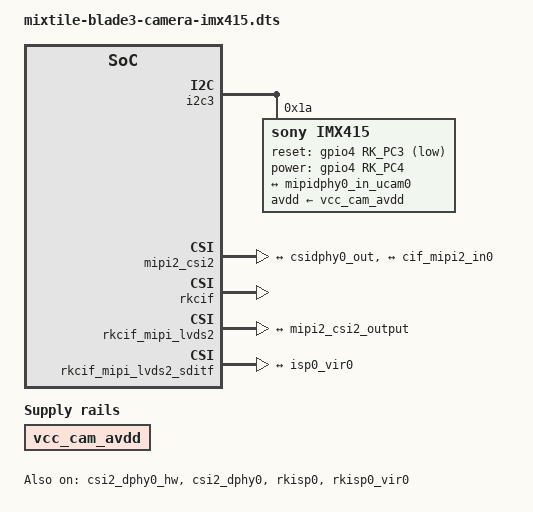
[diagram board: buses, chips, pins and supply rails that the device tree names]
/dts-v1/;
/plugin/;

#include <dt-bindings/clock/rk3588-cru.h>
#include <dt-bindings/power/rk3588-power.h>
#include <dt-bindings/gpio/gpio.h>
#include <dt-bindings/pinctrl/rockchip.h>

/ {
	metadata {
		title = "Enable IMX415 camera on CSI0";
		compatible = "mixtile,blade3";
		category = "camera";
		exclusive = "csi2_dphy0";
		description = "Enable a Sony IMX415 camera module on the J7 FPC connector.";
	};

	fragment@0 {
		target-path = "/";

		__overlay__ {
			/* generated on the module from the J7 3.3V/5V pins */
			vcc_cam_avdd: vcc-cam-avdd {
				compatible = "regulator-fixed";
				regulator-name = "vcc_cam_avdd";
				regulator-always-on;
				regulator-boot-on;
			};
		};
	};

	fragment@1 {
		target = <&i2c3>;

		__overlay__ {
			status = "okay";
			#address-cells = <1>;
			#size-cells = <0>;

			imx415: imx415@1a {
				compatible = "sony,imx415";
				reg = <0x1a>;
				clocks = <&cru CLK_MIPI_CAMARAOUT_M2>;
				clock-names = "xvclk";
				pinctrl-names = "default";
				pinctrl-0 = <&mipim1_camera2_clk &cam_ctl_pins>;
				power-domains = <&power RK3588_PD_VI>;
				reset-gpios = <&gpio4 RK_PC3 GPIO_ACTIVE_LOW>;
				power-gpios = <&gpio4 RK_PC4 GPIO_ACTIVE_HIGH>;
				avdd-supply = <&vcc_cam_avdd>;
				rockchip,camera-module-index = <0>;
				rockchip,camera-module-facing = "back";
				rockchip,camera-module-name = "CMK-OT2022-PX1";
				rockchip,camera-module-lens-name = "IR0147-50IRC-8M-F20";
				status = "okay";

				port {
					imx415_out0: endpoint {
						remote-endpoint = <&mipidphy0_in_ucam0>;
						data-lanes = <1 2 3 4>;
					};
				};
			};
		};
	};

	fragment@2 {
		target = <&pinctrl>;

		__overlay__ {
			cam {
				cam_ctl_pins: cam-ctl-pins {
					rockchip,pins =
						<4 RK_PC3 RK_FUNC_GPIO &pcfg_pull_none>,
						<4 RK_PC4 RK_FUNC_GPIO &pcfg_pull_none>;
				};
			};
		};
	};

	fragment@3 {
		target = <&csi2_dphy0_hw>;

		__overlay__ {
			status = "okay";
		};
	};

	fragment@4 {
		target = <&csi2_dphy0>;

		__overlay__ {
			status = "okay";

			ports {
				#address-cells = <1>;
				#size-cells = <0>;

				port@0 {
					reg = <0>;
					#address-cells = <1>;
					#size-cells = <0>;

					mipidphy0_in_ucam0: endpoint@1 {
						reg = <1>;
						remote-endpoint = <&imx415_out0>;
						data-lanes = <1 2 3 4>;
					};
				};

				port@1 {
					reg = <1>;
					#address-cells = <1>;
					#size-cells = <0>;

					csidphy0_out: endpoint@0 {
						reg = <0>;
						remote-endpoint = <&mipi2_csi2_input>;
					};
				};
			};
		};
	};

	fragment@5 {
		target = <&mipi2_csi2>;

		__overlay__ {
			status = "okay";

			ports {
				#address-cells = <1>;
				#size-cells = <0>;

				port@0 {
					reg = <0>;
					#address-cells = <1>;
					#size-cells = <0>;

					mipi2_csi2_input: endpoint@1 {
						reg = <1>;
						remote-endpoint = <&csidphy0_out>;
					};
				};

				port@1 {
					reg = <1>;
					#address-cells = <1>;
					#size-cells = <0>;

					mipi2_csi2_output: endpoint@0 {
						reg = <0>;
						remote-endpoint = <&cif_mipi2_in0>;
					};
				};
			};
		};
	};

	fragment@6 {
		target = <&rkcif>;

		__overlay__ {
			status = "okay";
		};
	};

	fragment@7 {
		target = <&rkcif_mmu>;

		__overlay__ {
			status = "okay";
		};
	};

	fragment@8 {
		target = <&rkcif_mipi_lvds2>;

		__overlay__ {
			status = "okay";

			port {
				cif_mipi2_in0: endpoint {
					remote-endpoint = <&mipi2_csi2_output>;
				};
			};
		};
	};

	fragment@9 {
		target = <&rkcif_mipi_lvds2_sditf>;

		__overlay__ {
			status = "okay";

			port {
				mipi_lvds2_sditf: endpoint {
					remote-endpoint = <&isp0_vir0>;
				};
			};
		};
	};

	fragment@10 {
		target = <&rkisp0>;

		__overlay__ {
			status = "okay";
		};
	};

	fragment@11 {
		target = <&isp0_mmu>;

		__overlay__ {
			status = "okay";
		};
	};

	fragment@12 {
		target = <&rkisp0_vir0>;

		__overlay__ {
			status = "okay";

			port {
				#address-cells = <1>;
				#size-cells = <0>;

				isp0_vir0: endpoint@0 {
					reg = <0>;
					remote-endpoint = <&mipi_lvds2_sditf>;
				};
			};
		};
	};
};
